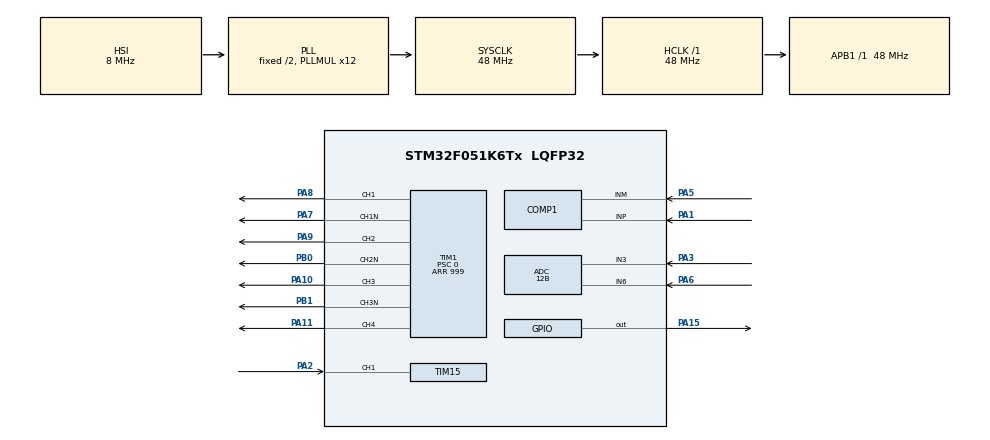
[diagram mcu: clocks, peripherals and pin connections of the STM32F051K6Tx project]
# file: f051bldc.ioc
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ADC.ClockPrescaler=ADC_CLOCK_ASYNC_DIV1
ADC.ContinuousConvMode=DISABLE
ADC.DMAContinuousRequests=ENABLE
ADC.DataAlign=ADC_DATAALIGN_RIGHT
ADC.DiscontinuousConvMode=ENABLE
ADC.EOCSelection=ADC_EOC_SEQ_CONV
ADC.EnableAnalogWatchDog=false
ADC.ExternalTrigConv=ADC_EXTERNALTRIGCONV_T1_CC4
ADC.ExternalTrigConvEdge=ADC_EXTERNALTRIGCONVEDGE_RISING
ADC.LowPowerAutoPowerOff=DISABLE
ADC.LowPowerAutoWait=DISABLE
ADC.Overrun=ADC_OVR_DATA_PRESERVED
ADC.Resolution=ADC_RESOLUTION_12B
ADC.SamplingTime=ADC_SAMPLETIME_239CYCLES_5
ADC.ScanConvMode=ADC_SCAN_DIRECTION_FORWARD
COMP1.Hysteresis=COMP_HYSTERESIS_LOW
COMP1.TriggerMode=COMP_TRIGGERMODE_IT_RISING_FALLING
Dma.ADC.1.Direction=DMA_PERIPH_TO_MEMORY
Dma.ADC.1.Instance=DMA1_Channel1
Dma.ADC.1.MemDataAlignment=DMA_MDATAALIGN_WORD
Dma.ADC.1.MemInc=DMA_MINC_ENABLE
Dma.ADC.1.Mode=DMA_CIRCULAR
Dma.ADC.1.PeriphDataAlignment=DMA_PDATAALIGN_WORD
Dma.ADC.1.PeriphInc=DMA_PINC_DISABLE
Dma.ADC.1.Priority=DMA_PRIORITY_LOW
Dma.Request0=TIM15_CH1/UP/TRIG/COM
Dma.Request1=ADC
Dma.TIM15_CH1/UP/TRIG/COM.0.Direction=DMA_PERIPH_TO_MEMORY
Dma.TIM15_CH1/UP/TRIG/COM.0.Instance=DMA1_Channel5
Dma.TIM15_CH1/UP/TRIG/COM.0.MemDataAlignment=DMA_MDATAALIGN_WORD
Dma.TIM15_CH1/UP/TRIG/COM.0.MemInc=DMA_MINC_ENABLE
Dma.TIM15_CH1/UP/TRIG/COM.0.Mode=DMA_NORMAL
Dma.TIM15_CH1/UP/TRIG/COM.0.PeriphDataAlignment=DMA_PDATAALIGN_HALFWORD
Dma.TIM15_CH1/UP/TRIG/COM.0.PeriphInc=DMA_PINC_DISABLE
Dma.TIM15_CH1/UP/TRIG/COM.0.Priority=DMA_PRIORITY_MEDIUM
IWDG.Prescaler=IWDG_PRESCALER_16
IWDG.Reload=4000
IWDG.Window=4095
Mcu.Family=STM32F0
Mcu.Name=STM32F051K6Tx
Mcu.Package=LQFP32
NVIC.ADC1_COMP_IRQn=true\:0\:0\:true\:false\:true\:false
NVIC.DMA1_Channel1_IRQn=true\:2\:0\:true\:false\:true\:false
NVIC.DMA1_Channel4_5_IRQn=true\:2\:0\:true\:false\:true\:false
NVIC.TIM16_IRQn=true\:1\:0\:true\:false\:true\:true
PA1.Mode=INP
PA1.Signal=COMP1_INP
PA10.Signal=S_TIM1_CH3
PA11.Signal=S_TIM1_CH4
PA13.Mode=Serial_Wire
PA13.Signal=SYS_SWDIO
PA14.Mode=Serial_Wire
PA14.Signal=SYS_SWCLK
PA15.Signal=GPIO_Output
PA2.Signal=S_TIM15_CH1
PA3.Mode=IN3
PA3.Signal=ADC_IN3
PA5.Mode=INM
PA5.Signal=COMP1_INM
PA6.Mode=IN6
PA6.Signal=ADC_IN6
PA7.Mode=PWM Generation1 CH1 CH1N
PA7.Signal=TIM1_CH1N
PA8.Signal=S_TIM1_CH1
PA9.Signal=S_TIM1_CH2
PB0.Mode=PWM Generation2 CH2 CH2N
PB0.Signal=TIM1_CH2N
PB1.Mode=PWM Generation3 CH3 CH3N
PB1.Signal=TIM1_CH3N
ProjectManager.HeapSize=0x200
ProjectManager.StackSize=0x400
ProjectManager.TargetToolchain=TrueSTUDIO
RCC.AHBFreq_Value=48000000
RCC.APB1Freq_Value=48000000
RCC.APB1TimFreq_Value=48000000
RCC.HCLKFreq_Value=48000000
RCC.PLLMUL=RCC_PLL_MUL12
RCC.SYSCLKFreq_VALUE=48000000
RCC.SYSCLKSource=RCC_SYSCLKSOURCE_PLLCLK
SH.S_TIM15_CH1.0=TIM15_CH1,Input_Capture1_from_TI1
SH.S_TIM15_CH1.1=TIM15_CH1,TriggerSource_TI1FP1
SH.S_TIM1_CH1.0=TIM1_CH1,PWM Generation1 CH1 CH1N
SH.S_TIM1_CH2.0=TIM1_CH2,PWM Generation2 CH2 CH2N
SH.S_TIM1_CH3.0=TIM1_CH3,PWM Generation3 CH3 CH3N
SH.S_TIM1_CH4.0=TIM1_CH4,PWM Generation4 CH4
TIM1.Channel-PWM\ Generation1\ CH1\ CH1N=TIM_CHANNEL_1
TIM1.Channel-PWM\ Generation2\ CH2\ CH2N=TIM_CHANNEL_2
TIM1.Channel-PWM\ Generation3\ CH3\ CH3N=TIM_CHANNEL_3
TIM1.Channel-PWM\ Generation4\ CH4=TIM_CHANNEL_4
TIM1.CounterMode=TIM_COUNTERMODE_CENTERALIGNED1
TIM1.DeadTime=60
TIM1.Period=999
TIM1.Prescaler=0
TIM1.TIM_MasterOutputTrigger=TIM_TRGO_RESET
TIM1.TIM_MasterSlaveMode=TIM_MASTERSLAVEMODE_DISABLE
TIM15.Channel-Input_Capture1_from_TI1=TIM_CHANNEL_1
TIM15.ICPolarity_CH1=TIM_INPUTCHANNELPOLARITY_BOTHEDGE
TIM15.Period=0xffff
TIM16.Period=9000
TIM2.Period=5000
TIM2.Prescaler=100
TIM3.Period=65535
TIM3.Prescaler=10
VP_ADC_TempSens_Input.Mode=IN-TempSens
VP_IWDG_VS_IWDG.Mode=IWDG_Activate
VP_TIM15_VS_ControllerModeReset.Mode=Reset Mode
VP_TIM16_VS_ClockSourceINT.Mode=Enable_Timer
VP_TIM1_VS_ClockSourceINT.Mode=Internal
VP_TIM2_VS_ClockSourceINT.Mode=Internal
VP_TIM3_VS_ClockSourceINT.Mode=Internal
board=f051bldc

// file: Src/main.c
/**
  ******************************************************************************
  * File Name          : main.c
  * Description        : Main program body
  ******************************************************************************
  ** This notice applies to any and all portions of this file
  * that are not between comment pairs USER CODE BEGIN and
  * USER CODE END. Other portions of this file, whether
  * inserted by the user or by software development tools
  * are owned by their respective copyright owners.
  *
  * COPYRIGHT(c) 2019 STMicroelectronics
  *
  * Redistribution and use in source and binary forms, with or without modification,
  * are permitted provided that the following conditions are met:
  *   1. Redistributions of source code must retain the above copyright notice,
  *      this list of conditions and the following disclaimer.
  *   2. Redistributions in binary form must reproduce the above copyright notice,
  *      this list of conditions and the following disclaimer in the documentation
  *      and/or other materials provided with the distribution.
  *   3. Neither the name of STMicroelectronics nor the names of its contributors
  *      may be used to endorse or promote products derived from this software
  *      without specific prior written permission.
  *
  * THIS SOFTWARE IS PROVIDED BY THE COPYRIGHT HOLDERS AND CONTRIBUTORS "AS IS"
  * AND ANY EXPRESS OR IMPLIED WARRANTIES, INCLUDING, BUT NOT LIMITED TO, THE
  * IMPLIED WARRANTIES OF MERCHANTABILITY AND FITNESS FOR A PARTICULAR PURPOSE ARE
  * DISCLAIMED. IN NO EVENT SHALL THE COPYRIGHT HOLDER OR CONTRIBUTORS BE LIABLE
  * FOR ANY DIRECT, INDIRECT, INCIDENTAL, SPECIAL, EXEMPLARY, OR CONSEQUENTIAL
  * DAMAGES (INCLUDING, BUT NOT LIMITED TO, PROCUREMENT OF SUBSTITUTE GOODS OR
  * SERVICES; LOSS OF USE, DATA, OR PROFITS; OR BUSINESS INTERRUPTION) HOWEVER
  * CAUSED AND ON ANY THEORY OF LIABILITY, WHETHER IN CONTRACT, STRICT LIABILITY,
  * OR TORT (INCLUDING NEGLIGENCE OR OTHERWISE) ARISING IN ANY WAY OUT OF THE USE
  * OF THIS SOFTWARE, EVEN IF ADVISED OF THE POSSIBILITY OF SUCH DAMAGE.
  *
  ******************************************************************************
  */

#include "main.h"
#include "stm32f0xx_hal.h"

/* USER CODE BEGIN Includes */
#include "eeprom.h"
/* USER CODE END Includes */

ADC_HandleTypeDef hadc;
DMA_HandleTypeDef hdma_adc;

COMP_HandleTypeDef hcomp1;

IWDG_HandleTypeDef hiwdg;

TIM_HandleTypeDef htim1;
TIM_HandleTypeDef htim2;
TIM_HandleTypeDef htim3;
TIM_HandleTypeDef htim15;
TIM_HandleTypeDef htim16;
DMA_HandleTypeDef hdma_tim15_ch1_up_trig_com;

/* USER CODE BEGIN PV */
/* Private variables ---------------------------------------------------------*/

#define MP6531
//#define FD6288

uint16_t VirtAddVarTab[NB_OF_VAR] = {0x5555, 0x6666, 0x7777};
uint16_t VarDataTab[NB_OF_VAR] = {0, 0, 0};
uint16_t VarValue,VarDataTmp;

uint32_t ee_status;

// variables to use for eeprom function,  ie: EE_WriteVariable(VirtAddVarTab[EEvehiclemode],  vehicle_mode ;

enum userVars{
	EEvehiclemode = 0,
	EEdirection = 1,
	EEbidirection = 2,
//	EEbrake_on_stop = 3
};
char vehicle_mode = 1;    // 1 = quad mode / eeprom load mode , 2 = crawler / thruster mode,  3 = rc car mode,  4 = like car mode but with auto reverse after stop
int dead_time = 60;           // change to 60 for qfn

int dir_reversed = 0;   // global direction reversed set in eeprom
int step = 1;
int startcount = 0;

int forcedcomcount = 0;
int commandcount = 0;
char bad_commutation = 0;

int bi_direction = 0;
char slow_decay = 1;                      // for complementary pwm , 0 for diode freewheeling
int brake = 1;                          // apply full motor brake on stop
int start_power = 150;
char prop_brake = 0;
int prop_brake_strength = 300;
int IC_buffer_size = 64;

char prop_brake_active = 0;
int adjusted_input;

int dshotcommand = 0;
uint8_t calcCRC;
uint8_t checkCRC;
int error = 0;

int quietmode = 0;
int count = 0;
int tempbrake = 0;

char advancedivisor = 8;                    // increase divisor to decrease advance,
char advancedivisorup = 3;
char advancedivisordown = 3;

int thiszctime = 0;
int lastzctime = 0;
int sensorless = 0;
int commutation_interval = 0;
int advance = 0;                       // set proportianal to commutation time. with advance divisor
int blanktime;
int pwm_settle = 50;
int demagtime = 5;
int waitTime = 0;
char filter_level = 1;
char compit = 0;
int filter_delay = 2;

int max_servo_deviation = 90;

int filter_level_up = 8;
int filter_level_down = 8;
int forcedcount = 0;
int control_loop_count;
int zctimeout = 0;
int zc_timeout_threshold = 2000;   // depends on speed of main loop

int signaltimeout = 0;
int signal_timeout_threshold = 10000;

int temp_step;
int ROC = 1;
int tocheck = 0;

int zcfound = 1;
int threshold = 1;
int upthreshold = 1;
int tim2_start_arr = 9000;
int startupcountdown = 0;

int duty_cycle = 100;

int pwm = 1;
int floating = 2;
int lowside = 3;
int bemf_counts;

int forward = 1;
int rising = 1;
int running = 0;
int started = 0;
char armed = 0;
int armedcount = 0;

int input_buffer_size = 64;
int smallestnumber = 20000;
uint32_t dma_buffer[64];
int propulse[4] = {0,0,0,0};
int dpulse[16] =  {0,0,0,0,0,0,0,0,0,0,0,0,0,0,0,0};

int input = 0;
int newinput =0;
int servorawinput = 0;

int voltageraw = 0;
int currentraw = 0;
int tempraw = 0;
uint32_t ADC1ConvertedValues[3] = {0,0,0};
int timestamp;

char dshot = 0;
char proshot = 0;
char multishot = 0;
char oneshot42 = 0;
char oneshot125 = 0;
char servoPwm = 0;

char inputSet = 0;

/* USER CODE END PV */

void SystemClock_Config(void);
static void MX_GPIO_Init(void);
static void MX_DMA_Init(void);
static void MX_ADC_Init(void);
static void MX_COMP1_Init(void);
static void MX_TIM1_Init(void);
static void MX_TIM2_Init(void);
static void MX_TIM3_Init(void);
static void MX_TIM15_Init(void);
static void MX_IWDG_Init(void);
static void MX_TIM16_Init(void);

void HAL_TIM_MspPostInit(TIM_HandleTypeDef *htim);

/* USER CODE BEGIN PFP */
/* Private function prototypes -----------------------------------------------*/
long map(long x, long in_min, long in_max, long out_min, long out_max)
{
	if (x < in_min){
		x = in_min;
	}
	if (x > in_max){
		x = in_max;
	}
	return (x - in_min) * (out_max - out_min) / (in_max - in_min) + out_min;

}

void storeEEpromConfig(){

	 EE_WriteVariable(VirtAddVarTab[EEvehiclemode], vehicle_mode);
	 EE_WriteVariable(VirtAddVarTab[EEdirection], dir_reversed);
	 EE_WriteVariable(VirtAddVarTab[EEbidirection], bi_direction);
	// EE_WriteVariable(VirtAddVarTab[EEbrake_on_stop], EEbrake_on_stop);

	// playEEpromSavedTune();
}

void loadEEpromConfig(){
	 EE_ReadVariable(VirtAddVarTab[EEvehiclemode], &VarDataTab[EEvehiclemode]);
	 EE_ReadVariable(VirtAddVarTab[EEdirection], &VarDataTab[EEdirection]);
	 EE_ReadVariable(VirtAddVarTab[EEbidirection], &VarDataTab[EEbidirection]);
//	 EE_ReadVariable(VirtAddVarTab[EEbrake_on_stop], &VarDataTab[EEbrake_on_stop]);

	 if (VarDataTab[EEvehiclemode] == 0){             // nothing in the eeprom
     storeEEpromConfig();            // store default values
	 }else{
	 vehicle_mode = VarDataTab[EEvehiclemode];
	 dir_reversed = VarDataTab[EEdirection];
	 bi_direction = VarDataTab[EEbidirection];
//	 brake = VarDataTab[EEbrake_on_stop];
	 }
}

int getAbsDif(int number1, int number2){
	int result = number1 - number2;
	if (result < 0) {
	    result = -result;
	}
	return result;
}

#ifdef MP6531
void phaseA(int newPhase) {  // phaseB qfnf051 , phase A qfp32
#endif
#ifdef FD6288
void phaseB(int newPhase) {
#endif

	if (newPhase == pwm) {
		if(!slow_decay  || prop_brake_active){            // for future
		LL_GPIO_SetPinMode(GPIOB, GPIO_PIN_0, LL_GPIO_MODE_OUTPUT);
		GPIOB->BRR = GPIO_PIN_0;
		}else{
		LL_GPIO_SetPinMode(GPIOB, GPIO_PIN_0, LL_GPIO_MODE_ALTERNATE); // low
		}
		LL_GPIO_SetPinMode(GPIOA, GPIO_PIN_9, LL_GPIO_MODE_ALTERNATE);  // high

	}

	if (newPhase == floating) {
		LL_GPIO_SetPinMode(GPIOB, GPIO_PIN_0, LL_GPIO_MODE_OUTPUT);
		GPIOB->BRR = GPIO_PIN_0;
		LL_GPIO_SetPinMode(GPIOA, GPIO_PIN_9, LL_GPIO_MODE_OUTPUT);
		GPIOA->BRR = GPIO_PIN_9;
	}

	if (newPhase == lowside) {          // low mosfet on
		LL_GPIO_SetPinMode(GPIOB, GPIO_PIN_0, LL_GPIO_MODE_OUTPUT);
		GPIOB->BSRR = GPIO_PIN_0;
		LL_GPIO_SetPinMode(GPIOA, GPIO_PIN_9, LL_GPIO_MODE_OUTPUT);
		GPIOA->BRR = GPIO_PIN_9;
	}

}

#ifdef MP6531
void phaseB(int newPhase) {                                // phase c qfn , phase b qfp
#endif
#ifdef FD6288
void phaseC(int newPhase) {
#endif
	if (newPhase == pwm) {  // pwm
		if (!slow_decay || prop_brake_active){
			LL_GPIO_SetPinMode(GPIOA, GPIO_PIN_7, LL_GPIO_MODE_OUTPUT);
			GPIOA->BRR = GPIO_PIN_7;
		}else{
		LL_GPIO_SetPinMode(GPIOA, GPIO_PIN_7, LL_GPIO_MODE_ALTERNATE);
		}
		LL_GPIO_SetPinMode(GPIOA, GPIO_PIN_8, LL_GPIO_MODE_ALTERNATE);

	}

	if (newPhase == floating) {            // floating
		LL_GPIO_SetPinMode(GPIOA, GPIO_PIN_7, LL_GPIO_MODE_OUTPUT);
		GPIOA->BRR = GPIO_PIN_7;
		LL_GPIO_SetPinMode(GPIOA, GPIO_PIN_8, LL_GPIO_MODE_OUTPUT);
		GPIOA->BRR = GPIO_PIN_8;
	}

	if (newPhase == lowside) {              // lowside
		LL_GPIO_SetPinMode(GPIOA, GPIO_PIN_7, LL_GPIO_MODE_OUTPUT);
		GPIOA->BSRR = GPIO_PIN_7;
		LL_GPIO_SetPinMode(GPIOA, GPIO_PIN_8, LL_GPIO_MODE_OUTPUT);
		GPIOA->BRR = GPIO_PIN_8;
	}
}

#ifdef MP6531
void phaseC(int newPhase) {                    // phaseA qfn , phase C qfp
#endif
#ifdef FD6288
void phaseA(int newPhase) {
#endif
	if (newPhase == pwm) {
		if (!slow_decay || prop_brake_active){
			LL_GPIO_SetPinMode(GPIOB, GPIO_PIN_1, LL_GPIO_MODE_OUTPUT);
			GPIOB->BRR = GPIO_PIN_1;
			}else{
		LL_GPIO_SetPinMode(GPIOB, GPIO_PIN_1, LL_GPIO_MODE_ALTERNATE);
			}
		LL_GPIO_SetPinMode(GPIOA, GPIO_PIN_10, LL_GPIO_MODE_ALTERNATE);

	}

	if (newPhase == floating) {
		LL_GPIO_SetPinMode(GPIOB, GPIO_PIN_1, LL_GPIO_MODE_OUTPUT);
		GPIOB->BRR = GPIO_PIN_1;
		LL_GPIO_SetPinMode(GPIOA, GPIO_PIN_10, LL_GPIO_MODE_OUTPUT);
		GPIOA->BRR = GPIO_PIN_10;
	}

	if (newPhase == lowside) {
		LL_GPIO_SetPinMode(GPIOB, GPIO_PIN_1, LL_GPIO_MODE_OUTPUT);
		GPIOB->BSRR = GPIO_PIN_1;
		LL_GPIO_SetPinMode(GPIOA, GPIO_PIN_10, LL_GPIO_MODE_OUTPUT);
		GPIOA->BRR = GPIO_PIN_10;
	}

}

void comStep(int newStep) {

	if (newStep == 1) {			//A-B
		phaseA(pwm);
		phaseB(lowside);
		phaseC(floating);
	}

	if (newStep == 2) {			// C-B
		phaseA(floating);
		phaseB(lowside);
		phaseC(pwm);
	}

	if (newStep == 3) {		// C-A
		phaseA(lowside);
		phaseB(floating);
		phaseC(pwm);
	}

	if (newStep == 4) {    // B-A
		phaseA(lowside);
		phaseB(pwm);
		phaseC(floating);
	}

	if (newStep == 5) {          // B-C
		phaseA(floating);
		phaseB(pwm);
		phaseC(lowside);
	}

	if (newStep == 6) {       // A-C
		phaseA(pwm);
		phaseB(floating);
		phaseC(lowside);
	}

}

void allOff() {                   // coast
	phaseA(floating);
	phaseB(floating);
	phaseC(floating);
}

void fullBrake(){                     // full braking shorting all low sides
	phaseA(lowside);
	phaseB(lowside);
	phaseC(lowside);
}

void proBrake(){                    // duty cycle controls braking strength
//	prop_brake_active = 1;       // will turn off lower fets so only high side is active
	phaseA(pwm);
	phaseB(pwm);
	phaseC(pwm);
}

void changeCompInput() {

//	HAL_COMP_Stop_IT(&hcomp1);            // done in comparator routine

	if (step == 1 || step == 4) {   // c floating
		hcomp1.Init.InvertingInput = COMP_INVERTINGINPUT_IO1;
	}

	if (step == 2 || step == 5) {     // a floating
#ifdef MP6531
		hcomp1.Init.InvertingInput = COMP_INVERTINGINPUT_DAC1;                      /// if f051k6  step 2 , 5 is dac 1 ( swap comp input)
#endif
#ifdef FD6288
		hcomp1.Init.InvertingInput = COMP_INVERTINGINPUT_DAC2;
#endif
	}

	if (step == 3 || step == 6) {      // b floating
#ifdef MP6531
		hcomp1.Init.InvertingInput = COMP_INVERTINGINPUT_DAC2;
#endif
#ifdef FD6288
		hcomp1.Init.InvertingInput = COMP_INVERTINGINPUT_DAC1;
#endif
	}
	if (rising){
		hcomp1.Init.TriggerMode = COMP_TRIGGERMODE_IT_FALLING;   // polarity of comp output reversed
	}else{                          // falling bemf
		hcomp1.Init.TriggerMode = COMP_TRIGGERMODE_IT_RISING;
	}

	if (HAL_COMP_Init(&hcomp1) != HAL_OK) {
		_Error_Handler(__FILE__, __LINE__);
	}

}

void commutate() {

	if (forward == 1){
		step++;
		if (step > 6) {
			step = 1;
		}
		if (step == 1 || step == 3 || step == 5) {
			rising = 1;                                // is back emf rising or falling
		}
		if (step == 2 || step == 4 || step == 6) {
			rising = 0;
		}
	}
	if (forward == 0){
		step--;
		if (step < 1) {
			step = 6;
		}
		if (step == 1 || step == 3 || step == 5) {
			rising = 0;
		}
		if (step == 2 || step == 4 || step == 6) {
			rising = 1;
		}
	}

	if (input > 47){
comStep(step);
	}
	changeCompInput();
//	zcfound = 0;
//	falseAlarm = 0;
//	compCount = 0;
//	upcompCount = 0;
//	TIM2->CNT = 0;
//	TIM2->ARR = commutation_interval;
}

void HAL_TIM_PeriodElapsedCallback(TIM_HandleTypeDef *htim){

			if (htim->Instance==TIM16)
			{

			if(inputSet == 1){
				 if (!HAL_GPIO_ReadPin(GPIOA, GPIO_PIN_2)){

		     HAL_TIM_IC_Stop_DMA(&htim15,TIM_CHANNEL_1);
			 TIM15->CNT = 0;
//			 for (int i = 0; i < 8; i++){
//			 							dma_buffer[i]=0;
//			 						}

				 HAL_TIM_IC_Start_DMA(&htim15, TIM_CHANNEL_1, dma_buffer , IC_buffer_size);
			 }

			 }

		}
}

void startMotor() {

 startcount++;

    char decaystate = slow_decay;
    sensorless = 0;
	if (running == 0){
		HAL_COMP_Stop_IT(&hcomp1);
		slow_decay = 1;

	commutate();
	commutation_interval = 30000;
	TIM3->CNT = 0;
	TIM2->CNT = 0;
	TIM2->ARR = commutation_interval * 2;
	running = 1;
	if (HAL_COMP_Start_IT(&hcomp1) != HAL_OK) {
			/* Initialization Error */
			Error_Handler();
		}
	}

	slow_decay = decaystate;    // return to normal
	sensorless = 1;
	startupcountdown =0;
	bemf_counts = 0;

}

void forcedCommutation(){
	HAL_COMP_Stop_IT(&hcomp1);
    TIM3->CNT = commutation_interval / 2;
    commutate();
    while (TIM3->CNT - commutation_interval / 2  <  blanktime){}
	if (HAL_COMP_Start_IT(&hcomp1) != HAL_OK) {
		/* Initialization Error */
		Error_Handler();
	}

}

void HAL_COMP_TriggerCallback(COMP_HandleTypeDef *hcomp) {
	/* Turn On LED3 */
	if( bemf_counts > 100 && commutation_interval < 400){
		thiszctime = TIM3->CNT;
//		GPIOA->BSRR = GPIO_PIN_15;
		while (TIM3->CNT - thiszctime < filter_delay){

		}
		if (HAL_COMP_GetOutputLevel(&hcomp1) == rising){
				return;
		}
		TIM3->CNT = 0;

		HAL_COMP_Stop_IT(&hcomp1);

        zctimeout = 0;
        commutation_interval = ((2 *commutation_interval) + thiszctime) / 3;     // TEST!   divide by two when tracking up down time independant
		bad_commutation = 0;
		//			}
					advance = commutation_interval / advancedivisor;
					waitTime = commutation_interval /2  - advance;
					blanktime = commutation_interval / 4;

					while (TIM3->CNT  < waitTime){
								}
					            TIM1->CNT = duty_cycle;
                                forcedcount = 0;
								compit = 0;
								commutate();
								while (TIM3->CNT  < waitTime + blanktime){
								}
								if (HAL_COMP_Start_IT(&hcomp1) != HAL_OK) {
									/* Initialization Error */
									Error_Handler();
								}

								return;

	}else{

		timestamp = TIM3->CNT;
	//	GPIOA->BSRR = GPIO_PIN_15;

	if (compit > 200){
		HAL_COMP_Stop_IT(&hcomp1);
	//	error = 1;
		return;
	}
	compit +=1;
	while (TIM3->CNT - timestamp < filter_delay){

	}

	if (rising){
	//	advancedivisor = advancedivisorup;
		for (int i = 0; i < filter_level; i++){
		if (HAL_COMP_GetOutputLevel(&hcomp1) == COMP_OUTPUTLEVEL_HIGH){
	//		GPIOA->BRR = GPIO_PIN_15;

			return;
		}
		}

	}else{
	//	advancedivisor = advancedivisordown;
		for (int i = 0; i < filter_level; i++){
		if (HAL_COMP_GetOutputLevel(&hcomp1) == COMP_OUTPUTLEVEL_LOW){
	//		GPIOA->BRR = GPIO_PIN_15;

			return;
		}
		}

	}
	thiszctime = timestamp;
	TIM3->CNT = TIM3->CNT - timestamp;

	HAL_COMP_Stop_IT(&hcomp1);

	zctimeout = 0;

				commutation_interval = ((4 *commutation_interval) + thiszctime) / 5;    // TEST!   divide by two when tracking up down time independant
				bad_commutation = 0;
//			}
			advance = commutation_interval / advancedivisor;
			waitTime = commutation_interval /2   - advance ;
			blanktime = commutation_interval / 4;
		//	GPIOA->BRR = GPIO_PIN_15;

		if(tempbrake){
				HAL_COMP_Stop_IT(&hcomp1);
				return;
		}
		if (sensorless){
			while (TIM3->CNT  < waitTime){
				GPIOA->BSRR = GPIO_PIN_15;

			}
			TIM1->CNT = duty_cycle;
			GPIOA->BRR = GPIO_PIN_15;
			forcedcount = 0;
			compit = 0;
			commutate();
			while (TIM3->CNT  < waitTime + blanktime){
			}
		}

		lastzctime = thiszctime;
		if (bemf_counts < 200){
        bemf_counts++;
		}

	}
//	GPIOA->BSRR = GPIO_PIN_15;
	if (HAL_COMP_Start_IT(&hcomp1) != HAL_OK) {
		/* Initialization Error */
		Error_Handler();
	}
//	GPIOA->BRR = GPIO_PIN_15;
}

void playStartupTune(){
	TIM1->PSC = 75;
	TIM1->CCR1 = 5;
	TIM1->CCR2 = 5;
	TIM1->CCR3 = 5;
	comStep(2);
	HAL_Delay(100);
	TIM1->PSC = 50;
	HAL_Delay(100);
	TIM1->PSC = 25;
	HAL_Delay(100);
	allOff();
	TIM1->PSC = 0;
}

void playInputTune(){
	TIM1->PSC = 100;
	TIM1->CCR1 = 5;
	TIM1->CCR2 = 5;
	TIM1->CCR3 = 5;
	comStep(2);
	HAL_Delay(100);
	TIM1->PSC = 50;
	HAL_Delay(100);
	allOff();
	TIM1->PSC = 0;
}

void getADCs(){
	voltageraw = ADC1ConvertedValues[0];
	currentraw = ADC1ConvertedValues[1];
	tempraw = ADC1ConvertedValues[2];

}

void HAL_ADC_ConvCpltCallback(ADC_HandleTypeDef* hadc)
{
	getADCs();
}

void detectInput(){
	smallestnumber = 20000;
	dshot = 0;
	proshot = 0;
	multishot = 0;
	oneshot42 = 0;
	oneshot125 = 0;
	servoPwm = 0;
//	int lastnumber = dma_buffer[0];
	for ( int j = 1 ; j < input_buffer_size; j++){

		if(dma_buffer[j]  < smallestnumber){ // blank space
			smallestnumber = dma_buffer[j];
		}

	}

	if ((smallestnumber > 3)&&(smallestnumber < 22)){
		dshot = 1;
		IC_buffer_size = 32;
		TIM16->ARR = 8000;
	}
	if ((smallestnumber > 22)&&(smallestnumber < 30)){
			dshot = 1;
			TIM15->PSC = 1;
			TIM16->PSC = 1;
			TIM16->ARR = 8000;
			IC_buffer_size = 32;
		}

	if ((smallestnumber > 40 )&&(smallestnumber < 80)){
		proshot = 1;
		IC_buffer_size = 8;
		TIM16->ARR = 8000;
	}
//	if ((smallestnumber > 100 )&&(smallestnumber < 400)){
//		multishot = 1;
//	}
//	if ((smallestnumber > 2000 )&&(smallestnumber < 3000)){
//		oneshot42 = 1;
//	}
//	if ((smallestnumber > 3000 )&&(smallestnumber < 7000)){
//		oneshot125 = 1;
//	}
	if (smallestnumber > 100){
		servoPwm = 1;
		TIM15->PSC = 47;
//		TIM16->PSC = 47;
//		TIM16->ARR = 10000;
		HAL_TIM_Base_Stop(&htim16);
		IC_buffer_size = 6;

	}

	if (smallestnumber == 0){
		inputSet = 0;
	}else{

		inputSet = 1;

		HAL_Delay(50);
		//	playInputTune();
	}
	HAL_TIM_IC_Start_DMA(&htim15, TIM_CHANNEL_1, dma_buffer , IC_buffer_size);
}

void computeProshotDMA(){

 int total = dma_buffer[1]+ dma_buffer[2] + dma_buffer[3] + dma_buffer[4]+ dma_buffer[5] + dma_buffer[6] + dma_buffer[7];

   if (( total < 800 && total > 600)&& (dma_buffer[0]> 1000)){
   for (int i = 1; i < 8; i +=2){
    propulse[(i-1) / 2] = (dma_buffer[i] - 45) /6;
					}
   }else{
//		for (int i = 0; i < 8; i++){
//							dma_buffer[i]=0;
//						}
	   return;
   }
	calcCRC = ((propulse[0]^propulse[1]^propulse[2])<<3
							|(propulse[0]^propulse[1]^propulse[2])<<2
							|(propulse[0]^propulse[1]^propulse[2])<<1
							|(propulse[0]^propulse[1]^propulse[2]));

	checkCRC = (propulse[3]<<3 | propulse[3]<<2 | propulse[3]<<1 | propulse[3]);
    if ( checkCRC == calcCRC){
    	tocheck = ((propulse[0]<<7 | propulse[1]<<3 | propulse[2]>>1));
    }else{
 //   	error++;
    }
    if (tocheck > 47 && tocheck < 2048){
    	newinput = tocheck ;
    				commandcount = 0;

    			}else if (tocheck > 1 && tocheck < 48 && input == 0){

    					dshotcommand = tocheck ;
    			}else{
    				commandcount++;
    				if (commandcount > 1){
    				newinput = tocheck ;
    			    commandcount = 0;
    			}
    			}

}

void computeDshotDMA(){

	if (dma_buffer[0] < 1000){
		return;
	}

	for (int i = 1; i < 32; i+=2){
		dpulse[(i-1)/2] = (dma_buffer[i]  / 10) - 1;
	}

	 calcCRC = ((dpulse[0]^dpulse[4]^dpulse[8])<<3
			          |(dpulse[1]^dpulse[5]^dpulse[9])<<2
					|(dpulse[2]^dpulse[6]^dpulse[10])<<1
					|(dpulse[3]^dpulse[7]^dpulse[11])
				);
	 checkCRC = (dpulse[12]<<3 | dpulse[13]<<2 | dpulse[14]<<1 | dpulse[15]);
//
			if(calcCRC == checkCRC){
				tocheck = (
					dpulse[0]<<10 | dpulse[1]<<9 | dpulse[2]<<8 | dpulse[3]<<7
					| dpulse[4]<<6 | dpulse[5]<<5 | dpulse[6]<<4 | dpulse[7]<<3
					| dpulse[8]<<2 | dpulse[9]<<1 | dpulse[10]);
//				success++;
				}else{
//					error++;
				}

			if (tocheck > 47 && tocheck < 2048){
				newinput = tocheck;
				commandcount = 0;
			}else if (tocheck > 1 && tocheck < 48 && input == 0){

					dshotcommand = tocheck ;

			}else{
				commandcount++;
				if (commandcount > 1){
				newinput = tocheck ;
			    commandcount = 0;
			}
			}

}

void computeMSInput(){

	int lastnumber = dma_buffer[0];
	for ( int j = 1 ; j < 2; j++){

		if(((dma_buffer[j] - lastnumber) < 1500) && ((dma_buffer[j] - lastnumber) > 0)){ // blank space

			newinput = map((dma_buffer[j] - lastnumber),243,1200, 0, 2000);
			break;
		}
		lastnumber = dma_buffer[j];
	}
}

void computeOS125Input(){

	int lastnumber = dma_buffer[0];
	for ( int j = 1 ; j < 2; j++){

		if(((dma_buffer[j] - lastnumber) < 12300) && ((dma_buffer[j] - lastnumber) > 0)){ // blank space

			newinput = map((dma_buffer[j] - lastnumber),6500,12000, 0, 2000);
			break;
		}
		lastnumber = dma_buffer[j];
	}
}

void computeOS42Input(){

	int lastnumber = dma_buffer[0];
	for ( int j = 1 ; j < 2; j++){

		if(((dma_buffer[j] - lastnumber) < 4500) && ((dma_buffer[j] - lastnumber) > 0)){ // blank space

			newinput = map((dma_buffer[j] - lastnumber),2020, 4032, 0, 2000);
			break;
		}
		lastnumber = dma_buffer[j];
	}
}

void computeServoInput(){

	if ( dma_buffer[1] < 2000 && dma_buffer[1] > 1000){
		if(dma_buffer[2]< 1000 || dma_buffer[2] > 2500){

		servorawinput = map(dma_buffer[1], 1100,2000,0,2000);
		}
	}else if( dma_buffer[2] < 2000 && dma_buffer[2] > 1000) {
		if(dma_buffer[1]< 1000 || dma_buffer[1] > 2500){
		servorawinput = map(dma_buffer[2], 1100,2000,0,2000);
		}
	}

	if (servorawinput - newinput > max_servo_deviation){
		newinput += max_servo_deviation;
	}else if(newinput - servorawinput > max_servo_deviation){
		newinput -= max_servo_deviation;
	}else{
		newinput = servorawinput;
	}

//
//	if ( (dma_buffer[1] + dma_buffer[2]) > 2300 && (dma_buffer[1] + dma_buffer[2]) < 5000){     // signal not in range input
//		newinput = 1;
//	}else{
//
//	if (getAbsDif (dma_buffer[1], dma_buffer[3]) < 200 ){
//		if (dma_buffer[1] > 1000 && dma_buffer[1] < 2100){
//			if(getAbsDif (newinput, map(dma_buffer[1] , 1100, 2000, 0, 2000)) < 100 ){
//				newinput =map(dma_buffer[1] , 1100, 2000, 0, 2000);
//			}else{
//
//			newinput = (map(dma_buffer[1] , 1100, 2000, 0, 2000) + (newinput * 3)) / 4;
//			}
//		}else if (dma_buffer[2] > 1000 && dma_buffer[2] < 2100){
//			if(getAbsDif (newinput, map(dma_buffer[2] , 1100, 2000, 0, 2000)) < 100 ){
//							newinput =map(dma_buffer[2] , 1100, 2000, 0, 2000);
//						}else{
//
//						newinput = (map(dma_buffer[2] , 1100, 2000, 0, 2000) + (newinput * 3)) / 4;
//						}
//		}
//	}
//	}

	//	lastServoInput = newpinput;
//
//if ( dma_buffer[0] < 1000 && (dma_buffer[1] >1000 ) && (dma_buffer[1] < 2200)){
//	newinput = map(dma_buffer[1] , 1150, 2000, 0, 2000);
//}

//	if (!HAL_GPIO_ReadPin(GPIOA, GPIO_PIN_2)){
//		newinput = map(dma_buffer[0] , 1150, 2000, 0, 2000);
//	}else{

//	}

//	int lastnumber = dma_buffer[0];
//	for ( int j = 0 ; j <=1; j++){
//
//		if((dma_buffer[j] >1000 ) && (dma_buffer[j] < 2010)){ // in the servo input range.. use less than 200hz or 500hz exaactly. !!
//
//			newinput = map(dma_buffer[j] , 1150, 2000, 0, 2000);
//			break;
//		}
////		lastnumber = dma_buffer[j];
//	}

}

//void computeDshotDMA(){
//
//	int lastnumber = dma_buffer[0];
//	for ( int j = 1 ; j < input_buffer_size; j++){
//
//		if(((dma_buffer[j] - lastnumber) > 50) && ((dma_buffer[j] - lastnumber) < 65000)){ // blank space
//
//			for (int i = 0; i < 16; i++){
//				dpulse[i] = ((dma_buffer[j + i*2 +1] - dma_buffer[j + i*2]) / 13) - 1;
//			}
//
//			uint8_t calcCRC = ((dpulse[0]^dpulse[4]^dpulse[8])<<3
//					|(dpulse[1]^dpulse[5]^dpulse[9])<<2
//					|(dpulse[2]^dpulse[6]^dpulse[10])<<1
//					|(dpulse[3]^dpulse[7]^dpulse[11])
//			);
//			uint8_t checkCRC = (dpulse[12]<<3 | dpulse[13]<<2 | dpulse[14]<<1 | dpulse[15]);
//			//
//
//			int tocheck = (
//					dpulse[0]<<10 | dpulse[1]<<9 | dpulse[2]<<8 | dpulse[3]<<7
//					| dpulse[4]<<6 | dpulse[5]<<5 | dpulse[6]<<4 | dpulse[7]<<3
//					| dpulse[8]<<2 | dpulse[9]<<1 | dpulse[10]);
//
//			if(calcCRC == checkCRC){
//
//				if (tocheck > 47 && tocheck <= 2047){
//					newinput = tocheck;
//                    dshotcommand = 0;
//                    commandcount = 0;
//				}
//
//			if ((tocheck <= 47)&& (tocheck > 0)){
//				commandcount++;
//				if (commandcount > 1){
//				newinput = 0;
//				dshotcommand = tocheck;    //  todo
//				commandcount = 0;
//				}
//			}
//			if (tocheck == 0){
//
//			    commandcount++;
//				if (commandcount > 1){
//				newinput = 0;
//				dshotcommand = 0;
//				commandcount = 0;
//				}
//			}
//			}
//
//
//			break;
//		}
//		lastnumber = dma_buffer[j];
//	}
//}

void transferComplete(){

//	compit = 0;
	signaltimeout = 0;
//	HAL_GPIO_TogglePin(GPIOC, GPIO_PIN_3);

	if (inputSet == 1){
		if (dshot == 1){
			computeDshotDMA();
//			HAL_TIM_IC_Start_DMA(&htim15, TIM_CHANNEL_1, dma_buffer , 64);
		}
		if (proshot == 1){
			computeProshotDMA();
	//		HAL_TIM_IC_Start_DMA(&htim15, TIM_CHANNEL_1, dma_buffer , 16);
		}

		if  (servoPwm == 1){
			computeServoInput();
			TIM15->CNT = 0;
		//	if (!HAL_GPIO_ReadPin(GPIOA, GPIO_PIN_2)){
			//	HAL_TIM_IC_Start_DMA(&htim15, TIM_CHANNEL_1, dma_buffer , 3);
		//	}else{
				HAL_TIM_IC_Start_DMA(&htim15, TIM_CHANNEL_1, dma_buffer , 3);
		//	}

		}
		if  (multishot){
			computeMSInput();
			HAL_TIM_IC_Start_DMA(&htim15, TIM_CHANNEL_1, dma_buffer , 3);

		}
		if  (oneshot125){
			computeOS125Input();
			HAL_TIM_IC_Start_DMA(&htim15, TIM_CHANNEL_1, dma_buffer , 3);

		}
		if  (oneshot42){
			computeOS42Input();
			HAL_TIM_IC_Start_DMA(&htim15, TIM_CHANNEL_1, dma_buffer , 3);

		}
	}

}

/* USER CODE END PFP */

int main(void)
{

  /* MCU Configuration----------------------------------------------------------*/

  /* Reset of all peripherals, Initializes the Flash interface and the Systick. */
  HAL_Init();

  /* Configure the system clock */
  SystemClock_Config();

  /* USER CODE BEGIN SysInit */
  HAL_FLASH_Unlock();
  EE_Init();
//  HAL_Delay(10);
  /* USER CODE END SysInit */

  /* Initialize all configured peripherals */
  MX_GPIO_Init();
  MX_DMA_Init();
  MX_ADC_Init();
  MX_COMP1_Init();
  MX_TIM1_Init();
  MX_TIM2_Init();
  MX_TIM3_Init();
  MX_TIM15_Init();
  MX_IWDG_Init();
  MX_TIM16_Init();

  /* USER CODE BEGIN 2 */
	HAL_TIM_PWM_Start(&htim1, TIM_CHANNEL_1);
	HAL_TIMEx_PWMN_Start(&htim1, TIM_CHANNEL_1);
	HAL_TIM_PWM_Start(&htim1, TIM_CHANNEL_2);
	HAL_TIMEx_PWMN_Start(&htim1, TIM_CHANNEL_2);
	HAL_TIM_PWM_Start(&htim1, TIM_CHANNEL_3);
	HAL_TIMEx_PWMN_Start(&htim1, TIM_CHANNEL_3);

	//HAL_TIM_Base_Start_IT(&htim2);
	HAL_TIM_Base_Start_IT(&htim16);
	HAL_TIM_Base_Start(&htim3);
	//  HAL_Delay(500);
	playStartupTune();

	if (vehicle_mode == 1){                    // quad single direction
		loadEEpromConfig();
	}
	if (vehicle_mode == 2){                   // crawler or thruster
		 bi_direction = 1;
		 slow_decay = 1;                      // for complementary pwm , 0 for diode freewheeling
		 brake = 1;                          // apply full motor brake on stop
		 start_power = 150;

	}
	if (vehicle_mode == 3){                 // rc car 50 percent brake on reverse.
		 bi_direction = 1;
		 slow_decay = 0;                      // for complementary pwm , 0 for diode freewheeling
		 brake = 0;                          // apply full motor brake on stop
	//	 start_power = 150;
		 prop_brake = 1;
		 prop_brake_strength = 900;
	}
	if (vehicle_mode == 4){                 // rc car 50 percent brake on reverse.
			 bi_direction = 1;
			 slow_decay = 0;                      // for complementary pwm , 0 for diode freewheeling
			 brake = 0;                          // apply full motor brake on stop
	//		 start_power = 150;
			 prop_brake = 1;
			 prop_brake_strength = 800;
		}

	if (HAL_TIM_OC_Start_IT(&htim1, TIM_CHANNEL_4) != HAL_OK)
	{
		_Error_Handler(__FILE__, __LINE__);
	}
	HAL_TIM_IC_Start_DMA(&htim15, TIM_CHANNEL_1, dma_buffer , 64);
	if (HAL_ADC_Start_DMA(&hadc, (uint32_t*)ADC1ConvertedValues, 3) != HAL_OK){
		Error_Handler();

	}
		if(HAL_COMP_Start_IT(&hcomp1) != HAL_OK)
		{
			/* Initialization Error */
			Error_Handler();
		}
	//
	if(HAL_IWDG_Init(&hiwdg) != HAL_OK)
	{
		/* Initialization Error */
		Error_Handler();
	}

	if(bi_direction){
		newinput = 1001;
	//	start_power = 175;
	}

	if (dir_reversed == 1){
		forward = 0;
	}else{
		forward = 1;
	}
	TIM1->CCR1 = 1;
	TIM1->CCR2 = 1;
	TIM1->CCR3 = 1;

	TIM1->CCR4 = 800;
  /* USER CODE END 2 */

  /* Infinite loop */
  /* USER CODE BEGIN WHILE */
	while (1)
	{
		count++;
		if (count > 100000) {
			count = 0;
		}
		compit = 0;
		if (HAL_IWDG_Refresh(&hiwdg) != HAL_OK)              // watchdog refresh
				{
			/* Refresh Error */
			Error_Handler();
		}
		control_loop_count++;
		if (control_loop_count > 1) {
			control_loop_count = 0;

			//	  		1-5: beep (1= low freq. 5 = high freq.)
			//	  		6: ESC info request (FW Version and SN sent over the tlm wire)
			//	  		7: rotate in one direction
			//	  		8: rotate in the other direction
			//	  		9: 3d mode off
			//	  		10: 3d mode on
			//	  		11: ESC settings request (saved settings over the TLM wire) (planed but not there yet)
			//	  		12: save Settings

			if (dshotcommand > 0) {
				if (dshotcommand == 2) {
					playInputTune();
				}
				if (dshotcommand == 21) {
					forward = dir_reversed;

				}
				if (dshotcommand == 20) {     // forward = 1 if dir_reversed = 0
					forward = 1 - dir_reversed;
				}
				if (dshotcommand == 7) {
					dir_reversed = 0;

				}
				if (dshotcommand == 8) {
					dir_reversed = 1;

				}
				if (dshotcommand == 9) {
					bi_direction = 0;
					armed = 0;

				}
				if (dshotcommand == 10) {
					bi_direction = 1;
					armed = 0;
				}
				if (dshotcommand == 12) {
					storeEEpromConfig();
					while (1) {   // resets esc as iwdg times out

					}
				}
				dshotcommand = 0;
			}

			if (bi_direction == 1 && (proshot == 0 && dshot == 0)) {
				//char oldbrake = brake;

				if (newinput > 1100) {
					if (forward == dir_reversed) {
						adjusted_input = 0;
						prop_brake_active = 1;
						forward = 1 - dir_reversed;
						//	HAL_Delay(1);
					}

					if (prop_brake_active == 0) {

						adjusted_input = (newinput - 1050) * 3;
						//	tempbrake = 0;
						//	}
					}
				}
				if (newinput < 800) {
					if (forward == (1 - dir_reversed)) {
						prop_brake_active = 1;
						adjusted_input = 0;
						forward = dir_reversed;
						//	HAL_Delay(1);

					}
					if (prop_brake_active == 0) {
						adjusted_input = (800 - newinput) * 3;

					}
					//	tempbrake = 0;
				}
				if (zctimeout >= zc_timeout_threshold) {
					//	adjusted_input = 0;
					if (vehicle_mode != 3) { // car mode requires throttle return to center before direction change
						prop_brake_active = 0;
					}

					startupcountdown = 0;
					bemf_counts = 0;
				}

				if (newinput > 800 && newinput < 1100) {
					adjusted_input = 0;
					prop_brake_active = 0;
				}

			} else if ((proshot || dshot) && bi_direction) {
				if (newinput > 1097) {

					if (forward == dir_reversed) {
						forward = 1 - dir_reversed;
						bemf_counts = 0;
					//	startcount++;
					}
					adjusted_input = (newinput - 1100) * 2 + 100;
				}
				if (newinput <= 1047 && newinput > 0) {
				//	startcount++;

					if (forward == (1 - dir_reversed)) {
						bemf_counts = 0;
						forward = dir_reversed;

					}
					adjusted_input = (newinput - 90) * 2;
				}
				if ((newinput > 1047 && newinput < 1098) || newinput <= 120) {
					adjusted_input = 0;
				}

			} else {
				adjusted_input = newinput;
			}

			//	if ((adjusted_input > 100)&&(startupcountdown>250)){
			if (adjusted_input > 2000) {
				adjusted_input = 2000;
			}

			if (adjusted_input - input > 25) {
				input = input + 10;
			} else if (input - adjusted_input > 25) {
				input = input - 10;
			} else {
				input = adjusted_input;
			}

		}

//		if (bemf_counts > 100){                      // NEVER TURN THIS ON!!! for musement only
//bemf_counts = 0;
//		input=0;
//		forward = 1-forward;
//			dir_reversed = 1-dir_reversed;
//
//		}

		advancedivisor = map((commutation_interval), 200, 10000, 2, 20);
		if (inputSet == 0) {
			HAL_Delay(10);
			detectInput();

		}
		if (!armed) {
				if ((inputSet == 1) && (input == 0)) {
					armedcount++;
					HAL_Delay(1);
					if (armedcount > 2000) {
						armed = 1;
						playInputTune();
					}
				}
				if (input > 0) {
					armedcount = 0;
				}
			}

		if ((input > 47) && (armed == 1)) {
			prop_brake_active = 0;
			started = 1;

			duty_cycle = input  - 20;

			if (bemf_counts < 15) {
				if (duty_cycle < 55) {
					duty_cycle = 55;
				}
				if (duty_cycle > 400) {
					duty_cycle = 400;
				}
			}

			if (running) {
				if (duty_cycle > 1998) {                             // safety!!!
					duty_cycle = 1999;
				}
				if (duty_cycle < 45) {
					duty_cycle = 45;
				}

				TIM1->CCR1 = duty_cycle;// set duty cycle to 50 out of 768 to start.
				TIM1->CCR2 = duty_cycle;
				TIM1->CCR3 = duty_cycle;
				//	TIM1->CCR4 = duty_cycle;
			}

		}
		//

		signaltimeout++;
		if (signaltimeout > signal_timeout_threshold) {
			input = 0;
			armed = 0;
			armedcount = 0;
			error = 1;
			inputSet = 0;
			TIM15->PSC=0;
			TIM16->PSC=0;
			dshot = 0;
			proshot = 0;
			servoPwm = 0;
			HAL_TIM_Base_Start_IT(&htim16);
			IC_buffer_size = 64;
			for (int i=0; i < 64; i++){
				dma_buffer[i] = 0;
			}
			HAL_TIM_IC_Start_DMA(&htim15, TIM_CHANNEL_1, dma_buffer , 64);
			//	  duty_cycle = 0;          //mid point
		}

		if (input <= 47) {
	//		error = 1;

			//	sensorless = 0;
			forcedcomcount = 0;
			started = 0;
			if (!brake && !prop_brake_active) {
				allOff();
			}
			duty_cycle = 0;
			if (brake || tempbrake) {
				fullBrake();
				duty_cycle = 0;
				//	HAL_COMP_Stop_IT(&hcomp1);
			}

			if (prop_brake && prop_brake_active) {
				//	prop_brake_active = 1;
				duty_cycle = prop_brake_strength;
				proBrake();
			}

			TIM1->CCR1 = duty_cycle;// set duty cycle to 50 out of 768 to start.
			TIM1->CCR2 = duty_cycle;
			TIM1->CCR3 = duty_cycle;

//					if (commutation_interval > 60000){
//						HAL_COMP_Stop_IT(&hcomp1);
//					//	prop_brake_active = 0;
//					}

		}
//		if (bemf_counts < 100) {
		if (bemf_counts < 100 || commutation_interval > 15000) {
			filter_delay = 15;
			filter_level = 12;
		} else {
			filter_level = 3;
			filter_delay = 8;
		}
		if (commutation_interval > 400 && commutation_interval < 1000) {

			filter_delay = 5;
			filter_level = 2;
		}

		if (started == 1) {
			if (running == 0) {
				//		allOff();
				upthreshold = 2;
				threshold = 2;
				zctimeout = 0;
				startMotor(); // safety on for input testing   ************************************************
			}
		}

		if (duty_cycle < 300) {
			zc_timeout_threshold = 3500;
		} else if (duty_cycle < 100) {
			zc_timeout_threshold = 10000;
		} else {
			zc_timeout_threshold = 2000;
		}

		zctimeout++;
		if (zctimeout > zc_timeout_threshold) {

			//		prop_brake_active = 0;
			bad_commutation = 0;
			sensorless = 0;
			HAL_COMP_Stop_IT(&hcomp1);
			//			if(tempbrake){
			//
			//			}else{
			//			allOff();
			//			}
			running = 0;
			//		commutation_interval = 0;
			zctimeout = zc_timeout_threshold + 1;
			duty_cycle = 0;
		}

//		if ((bemf_counts > 15
//				&& TIM3->CNT > commutation_interval + commutation_interval / 2)
//				&& duty_cycle < 300) {
//			if (forcedcount < 1) {
//				forcedcount++;
//				forcedCommutation();
//			}
//		//	bemf_counts = 0;
//		}

  /* USER CODE END WHILE */

  /* USER CODE BEGIN 3 */
//			}
//		}
	}
  /* USER CODE END 3 */

}

/** System Clock Configuration
*/
void SystemClock_Config(void)
{

  RCC_OscInitTypeDef RCC_OscInitStruct;
  RCC_ClkInitTypeDef RCC_ClkInitStruct;

    /**Initializes the CPU, AHB and APB busses clocks
    */
  RCC_OscInitStruct.OscillatorType = RCC_OSCILLATORTYPE_HSI|RCC_OSCILLATORTYPE_HSI14
                              |RCC_OSCILLATORTYPE_LSI;
  RCC_OscInitStruct.HSIState = RCC_HSI_ON;
  RCC_OscInitStruct.HSI14State = RCC_HSI14_ON;
  RCC_OscInitStruct.HSICalibrationValue = 16;
  RCC_OscInitStruct.HSI14CalibrationValue = 16;
  RCC_OscInitStruct.LSIState = RCC_LSI_ON;
  RCC_OscInitStruct.PLL.PLLState = RCC_PLL_ON;
  RCC_OscInitStruct.PLL.PLLSource = RCC_PLLSOURCE_HSI;
  RCC_OscInitStruct.PLL.PLLMUL = RCC_PLL_MUL12;
  RCC_OscInitStruct.PLL.PREDIV = RCC_PREDIV_DIV1;
  if (HAL_RCC_OscConfig(&RCC_OscInitStruct) != HAL_OK)
  {
    _Error_Handler(__FILE__, __LINE__);
  }

    /**Initializes the CPU, AHB and APB busses clocks
    */
  RCC_ClkInitStruct.ClockType = RCC_CLOCKTYPE_HCLK|RCC_CLOCKTYPE_SYSCLK
                              |RCC_CLOCKTYPE_PCLK1;
  RCC_ClkInitStruct.SYSCLKSource = RCC_SYSCLKSOURCE_PLLCLK;
  RCC_ClkInitStruct.AHBCLKDivider = RCC_SYSCLK_DIV1;
  RCC_ClkInitStruct.APB1CLKDivider = RCC_HCLK_DIV1;

  if (HAL_RCC_ClockConfig(&RCC_ClkInitStruct, FLASH_LATENCY_1) != HAL_OK)
  {
    _Error_Handler(__FILE__, __LINE__);
  }

    /**Configure the Systick interrupt time
    */
  HAL_SYSTICK_Config(HAL_RCC_GetHCLKFreq()/1000);

    /**Configure the Systick
    */
  HAL_SYSTICK_CLKSourceConfig(SYSTICK_CLKSOURCE_HCLK);

  /* SysTick_IRQn interrupt configuration */
  HAL_NVIC_SetPriority(SysTick_IRQn, 0, 0);
}

/* ADC init function */
static void MX_ADC_Init(void)
{

  ADC_ChannelConfTypeDef sConfig;

    /**Configure the global features of the ADC (Clock, Resolution, Data Alignment and number of conversion)
    */
  hadc.Instance = ADC1;
  hadc.Init.ClockPrescaler = ADC_CLOCK_ASYNC_DIV1;
  hadc.Init.Resolution = ADC_RESOLUTION_12B;
  hadc.Init.DataAlign = ADC_DATAALIGN_RIGHT;
  hadc.Init.ScanConvMode = ADC_SCAN_DIRECTION_FORWARD;
  hadc.Init.EOCSelection = ADC_EOC_SEQ_CONV;
  hadc.Init.LowPowerAutoWait = DISABLE;
  hadc.Init.LowPowerAutoPowerOff = DISABLE;
  hadc.Init.ContinuousConvMode = DISABLE;
  hadc.Init.DiscontinuousConvMode = ENABLE;
  hadc.Init.ExternalTrigConv = ADC_EXTERNALTRIGCONV_T1_CC4;
  hadc.Init.ExternalTrigConvEdge = ADC_EXTERNALTRIGCONVEDGE_RISING;
  hadc.Init.DMAContinuousRequests = ENABLE;
  hadc.Init.Overrun = ADC_OVR_DATA_PRESERVED;
  if (HAL_ADC_Init(&hadc) != HAL_OK)
  {
    _Error_Handler(__FILE__, __LINE__);
  }

    /**Configure for the selected ADC regular channel to be converted.
    */
  sConfig.Channel = ADC_CHANNEL_3;
  sConfig.Rank = ADC_RANK_CHANNEL_NUMBER;
  sConfig.SamplingTime = ADC_SAMPLETIME_239CYCLES_5;
  if (HAL_ADC_ConfigChannel(&hadc, &sConfig) != HAL_OK)
  {
    _Error_Handler(__FILE__, __LINE__);
  }

    /**Configure for the selected ADC regular channel to be converted.
    */
  sConfig.Channel = ADC_CHANNEL_6;
  if (HAL_ADC_ConfigChannel(&hadc, &sConfig) != HAL_OK)
  {
    _Error_Handler(__FILE__, __LINE__);
  }

    /**Configure for the selected ADC regular channel to be converted.
    */
  sConfig.Channel = ADC_CHANNEL_TEMPSENSOR;
  if (HAL_ADC_ConfigChannel(&hadc, &sConfig) != HAL_OK)
  {
    _Error_Handler(__FILE__, __LINE__);
  }

}

/* COMP1 init function */
static void MX_COMP1_Init(void)
{

  hcomp1.Instance = COMP1;
  hcomp1.Init.InvertingInput = COMP_INVERTINGINPUT_DAC2;
  hcomp1.Init.NonInvertingInput = COMP_NONINVERTINGINPUT_IO1;
  hcomp1.Init.Output = COMP_OUTPUT_NONE;
  hcomp1.Init.OutputPol = COMP_OUTPUTPOL_NONINVERTED;
  hcomp1.Init.Hysteresis = COMP_HYSTERESIS_LOW;
  hcomp1.Init.Mode = COMP_MODE_HIGHSPEED;
  hcomp1.Init.WindowMode = COMP_WINDOWMODE_DISABLE;
  hcomp1.Init.TriggerMode = COMP_TRIGGERMODE_IT_RISING_FALLING;
  if (HAL_COMP_Init(&hcomp1) != HAL_OK)
  {
    _Error_Handler(__FILE__, __LINE__);
  }

}

/* IWDG init function */
static void MX_IWDG_Init(void)
{

	hiwdg.Instance = IWDG;
	hiwdg.Init.Prescaler = IWDG_PRESCALER_16;
	hiwdg.Init.Window = IWDG_WINDOW_DISABLE;
	hiwdg.Init.Reload = 2000;
	if (HAL_IWDG_Init(&hiwdg) != HAL_OK)
	{
		_Error_Handler(__FILE__, __LINE__);
	}

}

/* TIM1 init function */
static void MX_TIM1_Init(void)
{

  TIM_ClockConfigTypeDef sClockSourceConfig;
  TIM_MasterConfigTypeDef sMasterConfig;
  TIM_OC_InitTypeDef sConfigOC;
  TIM_BreakDeadTimeConfigTypeDef sBreakDeadTimeConfig;

  htim1.Instance = TIM1;
  htim1.Init.Prescaler = 0;
  htim1.Init.CounterMode = TIM_COUNTERMODE_UP;
  htim1.Init.Period = 1999;
  htim1.Init.ClockDivision = TIM_CLOCKDIVISION_DIV1;
  htim1.Init.RepetitionCounter = 0;
  htim1.Init.AutoReloadPreload = TIM_AUTORELOAD_PRELOAD_DISABLE;
  if (HAL_TIM_Base_Init(&htim1) != HAL_OK)
  {
    _Error_Handler(__FILE__, __LINE__);
  }

  sClockSourceConfig.ClockSource = TIM_CLOCKSOURCE_INTERNAL;
  if (HAL_TIM_ConfigClockSource(&htim1, &sClockSourceConfig) != HAL_OK)
  {
    _Error_Handler(__FILE__, __LINE__);
  }

  if (HAL_TIM_PWM_Init(&htim1) != HAL_OK)
  {
    _Error_Handler(__FILE__, __LINE__);
  }

  sMasterConfig.MasterOutputTrigger = TIM_TRGO_RESET;
  sMasterConfig.MasterSlaveMode = TIM_MASTERSLAVEMODE_DISABLE;
  if (HAL_TIMEx_MasterConfigSynchronization(&htim1, &sMasterConfig) != HAL_OK)
  {
    _Error_Handler(__FILE__, __LINE__);
  }

  sConfigOC.OCMode = TIM_OCMODE_PWM1;
  sConfigOC.Pulse = 0;
  sConfigOC.OCPolarity = TIM_OCPOLARITY_HIGH;
  sConfigOC.OCNPolarity = TIM_OCNPOLARITY_HIGH;
  sConfigOC.OCFastMode = TIM_OCFAST_DISABLE;
  sConfigOC.OCIdleState = TIM_OCIDLESTATE_RESET;
  sConfigOC.OCNIdleState = TIM_OCNIDLESTATE_RESET;
  if (HAL_TIM_PWM_ConfigChannel(&htim1, &sConfigOC, TIM_CHANNEL_1) != HAL_OK)
  {
    _Error_Handler(__FILE__, __LINE__);
  }

  if (HAL_TIM_PWM_ConfigChannel(&htim1, &sConfigOC, TIM_CHANNEL_2) != HAL_OK)
  {
    _Error_Handler(__FILE__, __LINE__);
  }

  if (HAL_TIM_PWM_ConfigChannel(&htim1, &sConfigOC, TIM_CHANNEL_3) != HAL_OK)
  {
    _Error_Handler(__FILE__, __LINE__);
  }

  if (HAL_TIM_PWM_ConfigChannel(&htim1, &sConfigOC, TIM_CHANNEL_4) != HAL_OK)
  {
    _Error_Handler(__FILE__, __LINE__);
  }

  sBreakDeadTimeConfig.OffStateRunMode = TIM_OSSR_DISABLE;
  sBreakDeadTimeConfig.OffStateIDLEMode = TIM_OSSI_DISABLE;
  sBreakDeadTimeConfig.LockLevel = TIM_LOCKLEVEL_OFF;
  sBreakDeadTimeConfig.DeadTime = 60;
  sBreakDeadTimeConfig.BreakState = TIM_BREAK_DISABLE;
  sBreakDeadTimeConfig.BreakPolarity = TIM_BREAKPOLARITY_HIGH;
  sBreakDeadTimeConfig.AutomaticOutput = TIM_AUTOMATICOUTPUT_DISABLE;
  if (HAL_TIMEx_ConfigBreakDeadTime(&htim1, &sBreakDeadTimeConfig) != HAL_OK)
  {
    _Error_Handler(__FILE__, __LINE__);
  }

  HAL_TIM_MspPostInit(&htim1);

}

/* TIM2 init function */
static void MX_TIM2_Init(void)
{

  TIM_ClockConfigTypeDef sClockSourceConfig;
  TIM_MasterConfigTypeDef sMasterConfig;

  htim2.Instance = TIM2;
  htim2.Init.Prescaler = 100;
  htim2.Init.CounterMode = TIM_COUNTERMODE_UP;
  htim2.Init.Period = 5000;
  htim2.Init.ClockDivision = TIM_CLOCKDIVISION_DIV1;
  htim2.Init.AutoReloadPreload = TIM_AUTORELOAD_PRELOAD_DISABLE;
  if (HAL_TIM_Base_Init(&htim2) != HAL_OK)
  {
    _Error_Handler(__FILE__, __LINE__);
  }

  sClockSourceConfig.ClockSource = TIM_CLOCKSOURCE_INTERNAL;
  if (HAL_TIM_ConfigClockSource(&htim2, &sClockSourceConfig) != HAL_OK)
  {
    _Error_Handler(__FILE__, __LINE__);
  }

  sMasterConfig.MasterOutputTrigger = TIM_TRGO_RESET;
  sMasterConfig.MasterSlaveMode = TIM_MASTERSLAVEMODE_DISABLE;
  if (HAL_TIMEx_MasterConfigSynchronization(&htim2, &sMasterConfig) != HAL_OK)
  {
    _Error_Handler(__FILE__, __LINE__);
  }

}

/* TIM3 init function */
static void MX_TIM3_Init(void)
{

  TIM_ClockConfigTypeDef sClockSourceConfig;
  TIM_MasterConfigTypeDef sMasterConfig;

  htim3.Instance = TIM3;
  htim3.Init.Prescaler = 10;
  htim3.Init.CounterMode = TIM_COUNTERMODE_UP;
  htim3.Init.Period = 65535;
  htim3.Init.ClockDivision = TIM_CLOCKDIVISION_DIV1;
  htim3.Init.AutoReloadPreload = TIM_AUTORELOAD_PRELOAD_DISABLE;
  if (HAL_TIM_Base_Init(&htim3) != HAL_OK)
  {
    _Error_Handler(__FILE__, __LINE__);
  }

  sClockSourceConfig.ClockSource = TIM_CLOCKSOURCE_INTERNAL;
  if (HAL_TIM_ConfigClockSource(&htim3, &sClockSourceConfig) != HAL_OK)
  {
    _Error_Handler(__FILE__, __LINE__);
  }

  sMasterConfig.MasterOutputTrigger = TIM_TRGO_RESET;
  sMasterConfig.MasterSlaveMode = TIM_MASTERSLAVEMODE_DISABLE;
  if (HAL_TIMEx_MasterConfigSynchronization(&htim3, &sMasterConfig) != HAL_OK)
  {
    _Error_Handler(__FILE__, __LINE__);
  }

}

/* TIM15 init function */
static void MX_TIM15_Init(void)
{

  TIM_SlaveConfigTypeDef sSlaveConfig;
  TIM_MasterConfigTypeDef sMasterConfig;
  TIM_IC_InitTypeDef sConfigIC;

  htim15.Instance = TIM15;
  htim15.Init.Prescaler = 0;
  htim15.Init.CounterMode = TIM_COUNTERMODE_UP;
  htim15.Init.Period = 0xffff;
  htim15.Init.ClockDivision = TIM_CLOCKDIVISION_DIV1;
  htim15.Init.RepetitionCounter = 0;
  htim15.Init.AutoReloadPreload = TIM_AUTORELOAD_PRELOAD_DISABLE;
  if (HAL_TIM_Base_Init(&htim15) != HAL_OK)
  {
    _Error_Handler(__FILE__, __LINE__);
  }

  if (HAL_TIM_IC_Init(&htim15) != HAL_OK)
  {
    _Error_Handler(__FILE__, __LINE__);
  }

  sSlaveConfig.SlaveMode = TIM_SLAVEMODE_RESET;
  sSlaveConfig.InputTrigger = TIM_TS_TI1FP1;
  sSlaveConfig.TriggerPolarity = TIM_INPUTCHANNELPOLARITY_BOTHEDGE;
  sSlaveConfig.TriggerFilter = 0;
  if (HAL_TIM_SlaveConfigSynchronization(&htim15, &sSlaveConfig) != HAL_OK)
  {
    _Error_Handler(__FILE__, __LINE__);
  }

  sMasterConfig.MasterOutputTrigger = TIM_TRGO_RESET;
  sMasterConfig.MasterSlaveMode = TIM_MASTERSLAVEMODE_DISABLE;
  if (HAL_TIMEx_MasterConfigSynchronization(&htim15, &sMasterConfig) != HAL_OK)
  {
    _Error_Handler(__FILE__, __LINE__);
  }

  sConfigIC.ICPolarity = TIM_INPUTCHANNELPOLARITY_BOTHEDGE;
  sConfigIC.ICSelection = TIM_ICSELECTION_DIRECTTI;
  sConfigIC.ICPrescaler = TIM_ICPSC_DIV1;
  sConfigIC.ICFilter = 0;
  if (HAL_TIM_IC_ConfigChannel(&htim15, &sConfigIC, TIM_CHANNEL_1) != HAL_OK)
  {
    _Error_Handler(__FILE__, __LINE__);
  }

}

/* TIM16 init function */
static void MX_TIM16_Init(void)
{

  htim16.Instance = TIM16;
  htim16.Init.Prescaler = 0;
  htim16.Init.CounterMode = TIM_COUNTERMODE_UP;
  htim16.Init.Period = 9000;
  htim16.Init.ClockDivision = TIM_CLOCKDIVISION_DIV1;
  htim16.Init.RepetitionCounter = 0;
  htim16.Init.AutoReloadPreload = TIM_AUTORELOAD_PRELOAD_DISABLE;
  if (HAL_TIM_Base_Init(&htim16) != HAL_OK)
  {
    _Error_Handler(__FILE__, __LINE__);
  }

}

static void MX_DMA_Init(void)
{
  /* DMA controller clock enable */
  __HAL_RCC_DMA1_CLK_ENABLE();

  /* DMA interrupt init */
  /* DMA1_Channel1_IRQn interrupt configuration */
  HAL_NVIC_SetPriority(DMA1_Channel1_IRQn, 2, 0);
  HAL_NVIC_EnableIRQ(DMA1_Channel1_IRQn);
  /* DMA1_Channel4_5_IRQn interrupt configuration */
  HAL_NVIC_SetPriority(DMA1_Channel4_5_IRQn, 2, 0);
  HAL_NVIC_EnableIRQ(DMA1_Channel4_5_IRQn);

}

/** Configure pins as
        * Analog
        * Input
        * Output
        * EVENT_OUT
        * EXTI
*/
static void MX_GPIO_Init(void)
{

  LL_GPIO_InitTypeDef GPIO_InitStruct;

  /* GPIO Ports Clock Enable */
  LL_AHB1_GRP1_EnableClock(LL_AHB1_GRP1_PERIPH_GPIOA);
  LL_AHB1_GRP1_EnableClock(LL_AHB1_GRP1_PERIPH_GPIOB);

  /**/
  LL_GPIO_ResetOutputPin(GPIOA, LL_GPIO_PIN_15);

  /**/
  GPIO_InitStruct.Pin = LL_GPIO_PIN_15;
  GPIO_InitStruct.Mode = LL_GPIO_MODE_OUTPUT;
  GPIO_InitStruct.Speed = LL_GPIO_SPEED_FREQ_LOW;
  GPIO_InitStruct.OutputType = LL_GPIO_OUTPUT_PUSHPULL;
  GPIO_InitStruct.Pull = LL_GPIO_PULL_NO;
  LL_GPIO_Init(GPIOA, &GPIO_InitStruct);

}

void _Error_Handler(char * file, int line)
{
	while(1)
	{
	}
}

/************************ (C) COPYRIGHT STMicroelectronics *****END OF FILE****/
